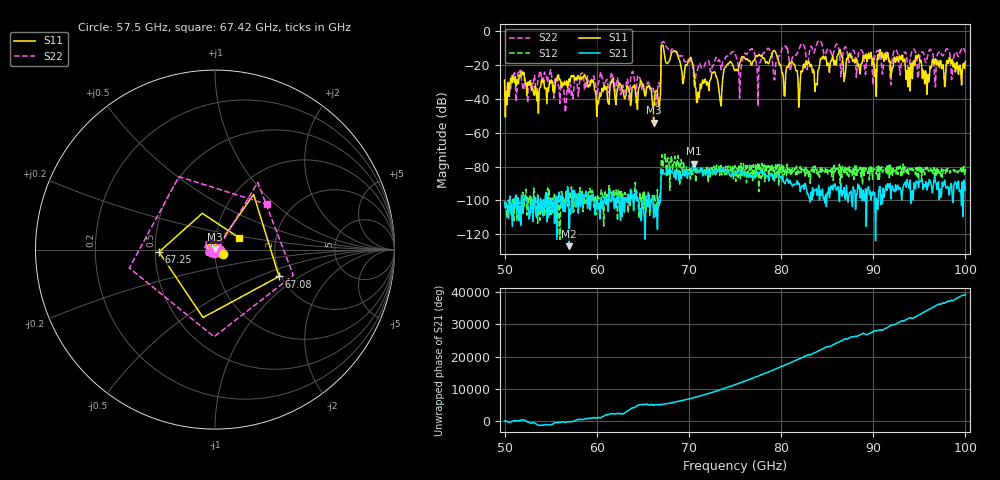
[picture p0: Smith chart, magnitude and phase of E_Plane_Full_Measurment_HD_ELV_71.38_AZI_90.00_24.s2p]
! 11/26/2026 3:27:08 PM
! C:\ANRITSUVNA\TEMP\TEMP.S2P
! CHANNEL.1
! TR.MEASUREMENT
! RAW.DATA
# HZ S RI R 50.0
! FREQ.HZ  S11RE  S11IM  S21RE  S21IM  S12RE  S12IM  S22RE  S22IM
!; PortSelection: Port_12
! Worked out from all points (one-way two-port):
!   601 points, 50 GHz to 100 GHz, reference 50 ohm
!   highest |S21| = -78.35 dB at 70.5 GHz (marker M1); lowest = -127.0 dB at 57 GHz (marker M2)
!   lowest |S11| = -54.0 dB at 66.17 GHz (marker M3), VSWR 1.00, Z = 50.1 + j0.143 ohm
!   |S11| at or under -10 dB: start of sweep to 67 GHz; 67.24 GHz to end of sweep
!   |S22| runs from -48.1 to -5.6 dB; largest |S21 - S12| = 0.00026
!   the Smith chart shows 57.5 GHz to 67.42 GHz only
!   S11 on the Smith chart (normalised r, x): 57.5 GHz: 1.09, -0.05; 67.08 GHz: 1.95, -0.69; 67.25 GHz: 0.52, -0.02; 67.42 GHz: 1.29, +0.18
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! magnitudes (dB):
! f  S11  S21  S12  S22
! 50 GHz  -29.0  -100.9  -102.3  -35.8
! 51.67 GHz  -26.3  -103.5  -101.2  -23.3
! 57 GHz  -28.2  -127.0  -102.9  -37.2
! 57.5 GHz  -26.2  -94.1  -106.6  -34.7
! 58.42 GHz  -27.2  -96.0  -93.8  -24.7
! 60.17 GHz  -43.1  -105.2  -98.9  -30.4
! 66.17 GHz  -54.0  -110.3  -103.0  -34.0
! 66.67 GHz  -41.5  -98.6  -105.0  -31.7
! 67.08 GHz  -8.3  -84.6  -73.0  -6.8
! 67.25 GHz  -10.1  -84.0  -76.0  -6.2
! 67.42 GHz  -16.6  -84.1  -72.7  -8.3
! 70.5 GHz  -21.3  -78.4  -82.3  -24.9
! 70.92 GHz  -42.1  -83.6  -81.6  -23.0
! 75 GHz  -23.3  -84.8  -79.5  -13.0
! 79.25 GHz  -11.5  -88.5  -80.4  -28.8
! 80.25 GHz  -27.9  -89.0  -78.9  -9.3
! 83.42 GHz  -24.6  -92.5  -83.7  -10.8
! 91.67 GHz  -16.8  -91.7  -79.0  -15.1
! 93.75 GHz  -32.9  -90.0  -80.6  -21.3
! 94.83 GHz  -15.0  -89.0  -80.6  -27.9
! 95.83 GHz  -37.3  -93.8  -79.7  -16.5
! 100 GHz  -17.9  -93.9  -81.4  -12.5
